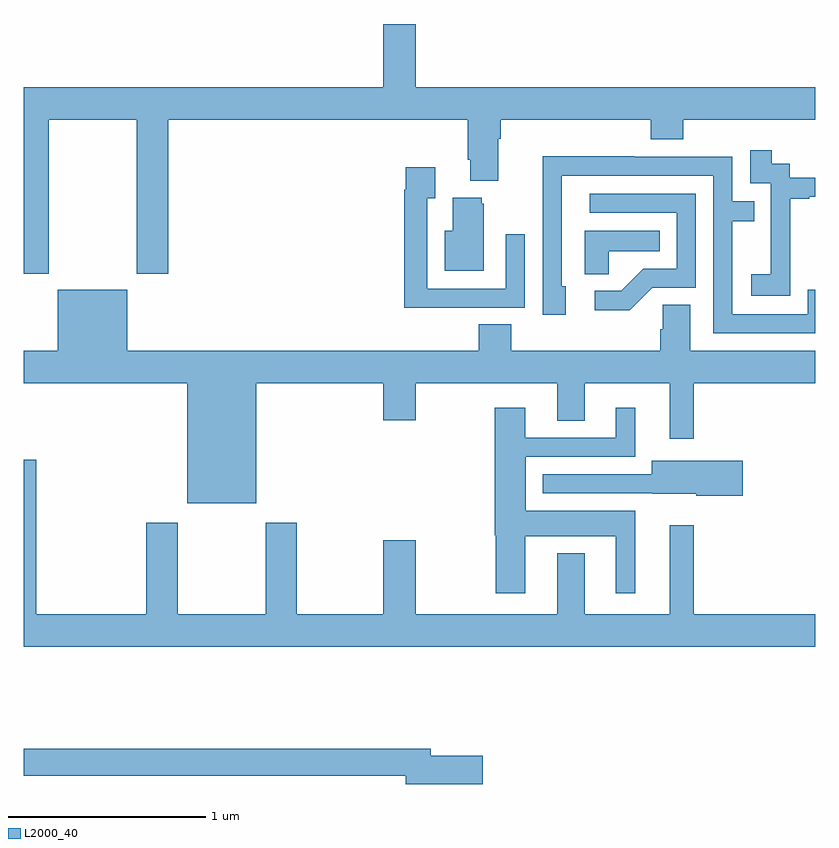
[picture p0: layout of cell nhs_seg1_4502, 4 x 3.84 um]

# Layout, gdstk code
import gdstk
lib = gdstk.Library(unit=1e-6, precision=1e-09)
def P(c, l, *ps):  # polygons
    for p in ps: c.add(gdstk.Polygon(p, *l))
L2000_40 = (2000, 40)

nhs_seg1_4502 = lib.new_cell('nhs_seg1_4502')
P(nhs_seg1_4502, L2000_40, [(356.98,568.199),(356.816,568.199),(356.816,567.88),(355,567.88),(355,566.937),(355.125,566.937),(355.125,567.716),(355.57,567.716),(355.57,566.937),(355.73,566.937),(355.73,567.716),(357.245,567.716),(357.245,567.514),(357.257,567.514),(357.257,567.407),(357.397,567.407),(357.397,567.62),(357.41,567.62),(357.41,567.716),(358.169,567.716),(358.169,567.617),(358.334,567.617),(358.334,567.716),(359,567.716),(359,567.88),(356.98,567.88)],
  [(358.875,567.031),(358.874,567.031),(358.874,567.315),(358.969,567.315),(358.969,567.327),(359,567.327),(359,567.423),(358.872,567.423),(358.872,567.492),(358.78,567.492),(358.78,567.562),(358.671,567.562),(358.671,567.393),(358.776,567.393),(358.776,567.164),(358.775,567.164),(358.775,566.935),(358.677,566.935),(358.677,566.825),(358.875,566.825)],
  [(359,566.856),(358.962,566.856),(358.962,566.733),(358.581,566.733),(358.581,567.202),(358.691,567.202),(358.691,567.303),(358.581,567.303),(358.581,567.528),(358.085,567.528),(358.085,567.53),(357.622,567.53),(357.622,567.223),(357.624,567.223),(357.624,566.73),(357.739,566.73),(357.739,566.874),(357.72,566.874),(357.72,567.432),(358.485,567.432),(358.485,566.637),(359,566.637)],
  [(357.215,566.766),(357.531,566.766),(357.531,567.136),(357.435,567.136),(357.435,566.862),(357.039,566.862),(357.039,567.319),(357.079,567.319),(357.079,567.475),(356.931,567.475),(356.931,567.362),(356.923,567.362),(356.923,566.765),(357.215,566.765)],
  [(358.176,566.865),(358.395,566.865),(358.395,567.342),(357.861,567.342),(357.861,567.246),(358.299,567.246),(358.299,566.961),(358.13,566.961),(358.019,566.85),(357.885,566.85),(357.885,566.753),(358.063,566.753)],
  [(357.325,567.291),(357.314,567.291),(357.314,567.322),(357.167,567.322),(357.167,567.154),(357.128,567.154),(357.128,566.951),(357.325,566.951)],
  [(357.957,567.05),(358.214,567.05),(358.214,567.154),(357.836,567.154),(357.836,566.935),(357.957,566.935)],
  [(356.176,566.384),(356.816,566.384),(356.816,566.196),(356.98,566.196),(356.98,566.384),(357.695,566.384),(357.695,566.194),(357.835,566.194),(357.835,566.384),(358.265,566.384),(358.265,566.103),(358.387,566.103),(358.387,566.384),(359,566.384),(359,566.548),(358.369,566.548),(358.369,566.78),(358.23,566.78),(358.23,566.657),(358.217,566.657),(358.217,566.548),(357.464,566.548),(357.464,566.681),(357.299,566.681),(357.299,566.548),(355.522,566.548),(355.522,566.857),(355.172,566.857),(355.172,566.548),(355,566.548),(355,566.384),(355.826,566.384),(355.826,565.778),(356.176,565.778)],
  [(357.535,565.61),(357.992,565.61),(357.992,565.323),(358.09,565.323),(358.09,565.738),(357.538,565.738),(357.538,566.013),(358.09,566.013),(358.09,566.26),(357.992,566.26),(357.992,566.109),(357.535,566.109),(357.535,566.26),(357.38,566.26),(357.38,565.614),(357.385,565.614),(357.385,565.323),(357.535,565.323)],
  [(359,565.216),(358.387,565.216),(358.387,565.666),(358.265,565.666),(358.265,565.216),(357.835,565.216),(357.835,565.525),(357.695,565.525),(357.695,565.216),(356.98,565.216),(356.98,565.591),(356.816,565.591),(356.816,565.216),(356.379,565.216),(356.379,565.678),(356.224,565.678),(356.224,565.216),(355.779,565.216),(355.779,565.678),(355.619,565.678),(355.619,565.216),(355.064,565.216),(355.064,565.996),(355,565.996),(355,565.052),(359,565.052)],
  [(358.633,565.992),(358.175,565.992),(358.175,565.923),(357.623,565.923),(357.623,565.827),(358.179,565.827),(358.179,565.826),(358.398,565.826),(358.398,565.814),(358.633,565.814)],
  [(357.319,564.5),(357.058,564.5),(357.058,564.536),(355,564.536),(355,564.4),(356.93,564.4),(356.93,564.358),(357.319,564.358)])

lib.write_gds('nhs_seg1_4502.gds')
